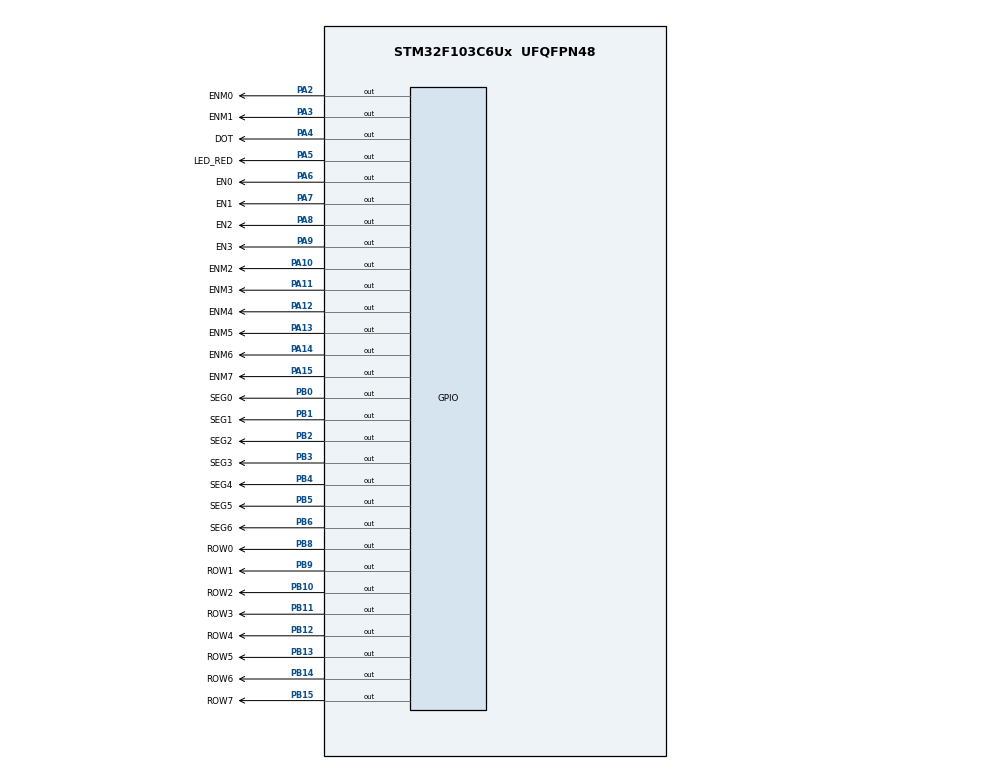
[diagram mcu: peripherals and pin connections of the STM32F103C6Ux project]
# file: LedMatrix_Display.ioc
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Mcu.Family=STM32F1
Mcu.Name=STM32F103C6Ux
Mcu.Package=UFQFPN48
NVIC.PriorityGroup=NVIC_PRIORITYGROUP_4
NVIC.TIM2_IRQn=true\:0\:0\:false\:false\:true\:true\:true
PA10.GPIO_Label=ENM2
PA10.Signal=GPIO_Output
PA11.GPIO_Label=ENM3
PA11.Signal=GPIO_Output
PA12.GPIO_Label=ENM4
PA12.Signal=GPIO_Output
PA13.GPIO_Label=ENM5
PA13.Signal=GPIO_Output
PA14.GPIO_Label=ENM6
PA14.Signal=GPIO_Output
PA15.GPIO_Label=ENM7
PA15.Signal=GPIO_Output
PA2.GPIO_Label=ENM0
PA2.Signal=GPIO_Output
PA3.GPIO_Label=ENM1
PA3.Signal=GPIO_Output
PA4.GPIO_Label=DOT
PA4.Signal=GPIO_Output
PA5.GPIO_Label=LED_RED
PA5.Signal=GPIO_Output
PA6.GPIO_Label=EN0
PA6.Signal=GPIO_Output
PA7.GPIO_Label=EN1
PA7.Signal=GPIO_Output
PA8.GPIO_Label=EN2
PA8.Signal=GPIO_Output
PA9.GPIO_Label=EN3
PA9.Signal=GPIO_Output
PB0.GPIO_Label=SEG0
PB0.Signal=GPIO_Output
PB1.GPIO_Label=SEG1
PB1.Signal=GPIO_Output
PB10.GPIO_Label=ROW2
PB10.Signal=GPIO_Output
PB11.GPIO_Label=ROW3
PB11.Signal=GPIO_Output
PB12.GPIO_Label=ROW4
PB12.Signal=GPIO_Output
PB13.GPIO_Label=ROW5
PB13.Signal=GPIO_Output
PB14.GPIO_Label=ROW6
PB14.Signal=GPIO_Output
PB15.GPIO_Label=ROW7
PB15.Signal=GPIO_Output
PB2.GPIO_Label=SEG2
PB2.Signal=GPIO_Output
PB3.GPIO_Label=SEG3
PB3.Signal=GPIO_Output
PB4.GPIO_Label=SEG4
PB4.Signal=GPIO_Output
PB5.GPIO_Label=SEG5
PB5.Signal=GPIO_Output
PB6.GPIO_Label=SEG6
PB6.Signal=GPIO_Output
PB8.GPIO_Label=ROW0
PB8.Signal=GPIO_Output
PB9.GPIO_Label=ROW1
PB9.Signal=GPIO_Output
ProjectManager.HeapSize=0x200
ProjectManager.StackSize=0x400
ProjectManager.TargetToolchain=STM32CubeIDE
RCC.APB1Freq_Value=8000000
RCC.APB2Freq_Value=8000000
TIM2.Period=9
TIM2.Prescaler=7999
VP_SYS_VS_ND.Mode=No_Debug
VP_TIM2_VS_ClockSourceINT.Mode=Internal
board=custom

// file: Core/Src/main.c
/* USER CODE BEGIN Header */
/**
  ******************************************************************************
  * @file           : main.c
  * @brief          : Main program body
  ******************************************************************************
  * @attention
  *
  * <h2><center>&copy; Copyright (c) 2026 STMicroelectronics.
  * All rights reserved.</center></h2>
  *
  * This software component is licensed by ST under BSD 3-Clause license,
  * the "License"; You may not use this file except in compliance with the
  * License. You may obtain a copy of the License at:
  *                        opensource.org/licenses/BSD-3-Clause
  *
  ******************************************************************************
  */
/* USER CODE END Header */
#include "main.h"

/* USER CODE BEGIN Includes */
#include "software_timer.h"
/* USER CODE END Includes */

/* USER CODE BEGIN PTD */
void display7SEG(int num);
void update7SEG(int index);
void updateClockBuffer(void);
void updateLEDMatrix(int index);
/* USER CODE END PTD */

TIM_HandleTypeDef htim2;

void SystemClock_Config(void);
static void MX_GPIO_Init(void);
static void MX_TIM2_Init(void);

/* USER CODE BEGIN 0 */
int led_state = 0;
const int MAX_LED = 4;
int index_led = 0;

int led_buffer[4] = {0, 0, 0, 0};

int hour = 15, minute = 8, second = 50;

const int MAX_LED_MATRIX = 8;
int index_led_matrix = 0;

uint8_t matrix_buffer[8] = {0x18, 0x3C, 0x66, 0x66, 0x7E, 0x7E, 0x66, 0x66};
//uint8_t matrix_buffer[8] = {
//    0x00, // Cột 0 (trống)
//    0xFC, // Cột 1
//    0x22, // Cột 2
//    0x21, // Cột 3
//    0x21, // Cột 4
//    0x22, // Cột 5
//    0xFC, // Cột 6
//    0x00  // Cột 7 (trống)
//};
/* USER CODE END 0 */

int main(void)
{

  /* MCU Configuration--------------------------------------------------------*/

  /* Reset of all peripherals, Initializes the Flash interface and the Systick. */
  HAL_Init();

  /* Configure the system clock */
  SystemClock_Config();

  /* Initialize all configured peripherals */
  MX_GPIO_Init();
  MX_TIM2_Init();
  /* USER CODE BEGIN 2 */
  HAL_TIM_Base_Start_IT(&htim2);

  HAL_GPIO_WritePin(GPIOA, EN0_Pin|EN1_Pin|EN2_Pin|EN3_Pin|DOT_Pin, GPIO_PIN_SET);

  setTimer1(25);
  setTimer2(100);
  setTimer3(1);
  setTimer4(25);
  /* USER CODE END 2 */

  /* Infinite loop */
  /* USER CODE BEGIN WHILE */

  while (1)
  {
    if (timer1_flag == 1) {
			setTimer1(25);
			update7SEG(index_led);

			index_led++;
			if (index_led >= MAX_LED) {
				index_led = 0;
			}
		}

	if (timer2_flag == 1) {
		setTimer2(100);
		HAL_GPIO_TogglePin(DOT_GPIO_Port, DOT_Pin);

		// logic counting time
		second++;
		if (second >= 60) {
			second = 0;
			minute++;
		  }
		if (minute >= 60) {
			minute = 0;
			hour++;
		}
		if (hour >= 24) {
			hour = 0;
		}

	  updateClockBuffer();
	}

	if (timer3_flag == 1) {
		setTimer3(1);
		updateLEDMatrix(index_led_matrix);
		index_led_matrix++;
		if (index_led_matrix >= MAX_LED_MATRIX) {
			index_led_matrix = 0;
		}
	}

	if (timer4_flag == 1) {
		setTimer4(25); // Nạp lại 250ms

		// Lưu lại giá trị của cột ngoài cùng bên trái
		uint8_t temp = matrix_buffer[0];

		// Dịch toàn bộ dữ liệu các cột sang trái 1 vị trí
		for (int i = 0; i < 7; i++) {
			matrix_buffer[i] = matrix_buffer[i + 1];
		}

		// Đưa cột ngoài cùng bên trái vòng xuống cuối cùng bên phải
		matrix_buffer[7] = temp;
	}

    /* USER CODE END WHILE */

  }
}

void SystemClock_Config(void)
{
  RCC_OscInitTypeDef RCC_OscInitStruct = {0};
  RCC_ClkInitTypeDef RCC_ClkInitStruct = {0};

  /** Initializes the RCC Oscillators according to the specified parameters
  * in the RCC_OscInitTypeDef structure.
  */
  RCC_OscInitStruct.OscillatorType = RCC_OSCILLATORTYPE_HSI;
  RCC_OscInitStruct.HSIState = RCC_HSI_ON;
  RCC_OscInitStruct.HSICalibrationValue = RCC_HSICALIBRATION_DEFAULT;
  RCC_OscInitStruct.PLL.PLLState = RCC_PLL_NONE;
  if (HAL_RCC_OscConfig(&RCC_OscInitStruct) != HAL_OK)
  {
    Error_Handler();
  }
  /** Initializes the CPU, AHB and APB buses clocks
  */
  RCC_ClkInitStruct.ClockType = RCC_CLOCKTYPE_HCLK|RCC_CLOCKTYPE_SYSCLK
                              |RCC_CLOCKTYPE_PCLK1|RCC_CLOCKTYPE_PCLK2;
  RCC_ClkInitStruct.SYSCLKSource = RCC_SYSCLKSOURCE_HSI;
  RCC_ClkInitStruct.AHBCLKDivider = RCC_SYSCLK_DIV1;
  RCC_ClkInitStruct.APB1CLKDivider = RCC_HCLK_DIV1;
  RCC_ClkInitStruct.APB2CLKDivider = RCC_HCLK_DIV1;

  if (HAL_RCC_ClockConfig(&RCC_ClkInitStruct, FLASH_LATENCY_0) != HAL_OK)
  {
    Error_Handler();
  }
}

static void MX_TIM2_Init(void)
{

  TIM_ClockConfigTypeDef sClockSourceConfig = {0};
  TIM_MasterConfigTypeDef sMasterConfig = {0};

  htim2.Instance = TIM2;
  htim2.Init.Prescaler = 7999;
  htim2.Init.CounterMode = TIM_COUNTERMODE_UP;
  htim2.Init.Period = 9;
  htim2.Init.ClockDivision = TIM_CLOCKDIVISION_DIV1;
  htim2.Init.AutoReloadPreload = TIM_AUTORELOAD_PRELOAD_DISABLE;
  if (HAL_TIM_Base_Init(&htim2) != HAL_OK)
  {
    Error_Handler();
  }
  sClockSourceConfig.ClockSource = TIM_CLOCKSOURCE_INTERNAL;
  if (HAL_TIM_ConfigClockSource(&htim2, &sClockSourceConfig) != HAL_OK)
  {
    Error_Handler();
  }
  sMasterConfig.MasterOutputTrigger = TIM_TRGO_RESET;
  sMasterConfig.MasterSlaveMode = TIM_MASTERSLAVEMODE_DISABLE;
  if (HAL_TIMEx_MasterConfigSynchronization(&htim2, &sMasterConfig) != HAL_OK)
  {
    Error_Handler();
  }

}

static void MX_GPIO_Init(void)
{
  GPIO_InitTypeDef GPIO_InitStruct = {0};

  /* GPIO Ports Clock Enable */
  __HAL_RCC_GPIOA_CLK_ENABLE();
  __HAL_RCC_GPIOB_CLK_ENABLE();

  /*Configure GPIO pin Output Level */
  HAL_GPIO_WritePin(GPIOA, ENM0_Pin|ENM1_Pin|DOT_Pin|LED_RED_Pin
                          |EN0_Pin|EN1_Pin|EN2_Pin|EN3_Pin
                          |ENM2_Pin|ENM3_Pin|ENM4_Pin|ENM5_Pin
                          |ENM6_Pin|ENM7_Pin, GPIO_PIN_RESET);

  /*Configure GPIO pin Output Level */
  HAL_GPIO_WritePin(GPIOB, SEG0_Pin|SEG1_Pin|SEG2_Pin|ROW2_Pin
                          |ROW3_Pin|ROW4_Pin|ROW5_Pin|ROW6_Pin
                          |ROW7_Pin|SEG3_Pin|SEG4_Pin|SEG5_Pin
                          |SEG6_Pin|ROW0_Pin|ROW1_Pin, GPIO_PIN_RESET);

  /*Configure GPIO pins : ENM0_Pin ENM1_Pin DOT_Pin LED_RED_Pin
                           EN0_Pin EN1_Pin EN2_Pin EN3_Pin
                           ENM2_Pin ENM3_Pin ENM4_Pin ENM5_Pin
                           ENM6_Pin ENM7_Pin */
  GPIO_InitStruct.Pin = ENM0_Pin|ENM1_Pin|DOT_Pin|LED_RED_Pin
                          |EN0_Pin|EN1_Pin|EN2_Pin|EN3_Pin
                          |ENM2_Pin|ENM3_Pin|ENM4_Pin|ENM5_Pin
                          |ENM6_Pin|ENM7_Pin;
  GPIO_InitStruct.Mode = GPIO_MODE_OUTPUT_PP;
  GPIO_InitStruct.Pull = GPIO_NOPULL;
  GPIO_InitStruct.Speed = GPIO_SPEED_FREQ_LOW;
  HAL_GPIO_Init(GPIOA, &GPIO_InitStruct);

  /*Configure GPIO pins : SEG0_Pin SEG1_Pin SEG2_Pin ROW2_Pin
                           ROW3_Pin ROW4_Pin ROW5_Pin ROW6_Pin
                           ROW7_Pin SEG3_Pin SEG4_Pin SEG5_Pin
                           SEG6_Pin ROW0_Pin ROW1_Pin */
  GPIO_InitStruct.Pin = SEG0_Pin|SEG1_Pin|SEG2_Pin|ROW2_Pin
                          |ROW3_Pin|ROW4_Pin|ROW5_Pin|ROW6_Pin
                          |ROW7_Pin|SEG3_Pin|SEG4_Pin|SEG5_Pin
                          |SEG6_Pin|ROW0_Pin|ROW1_Pin;
  GPIO_InitStruct.Mode = GPIO_MODE_OUTPUT_PP;
  GPIO_InitStruct.Pull = GPIO_NOPULL;
  GPIO_InitStruct.Speed = GPIO_SPEED_FREQ_LOW;
  HAL_GPIO_Init(GPIOB, &GPIO_InitStruct);

}

/* USER CODE BEGIN 4 */
const uint8_t segment_code[10] = {
	0xC0, // 0
	0xF9, // 1
	0xA4, // 2
	0xB0, // 3
	0x99, // 4
	0x92, // 5
	0x82, // 6
	0xF8, // 7
	0x80, // 8
	0x90  // 9
};

void display7SEG(int num) {
	if (num < 0 || num > 9) return;

	uint8_t code = segment_code[num];

	HAL_GPIO_WritePin(SEG0_GPIO_Port, SEG0_Pin, (code & 0x01) ? GPIO_PIN_SET : GPIO_PIN_RESET);
	HAL_GPIO_WritePin(SEG1_GPIO_Port, SEG1_Pin, ((code >> 1) & 0x01) ? GPIO_PIN_SET : GPIO_PIN_RESET);
	HAL_GPIO_WritePin(SEG2_GPIO_Port, SEG2_Pin, ((code >> 2) & 0x01) ? GPIO_PIN_SET : GPIO_PIN_RESET);
	HAL_GPIO_WritePin(SEG3_GPIO_Port, SEG3_Pin, ((code >> 3) & 0x01) ? GPIO_PIN_SET : GPIO_PIN_RESET);
	HAL_GPIO_WritePin(SEG4_GPIO_Port, SEG4_Pin, ((code >> 4) & 0x01) ? GPIO_PIN_SET : GPIO_PIN_RESET);
	HAL_GPIO_WritePin(SEG5_GPIO_Port, SEG5_Pin, ((code >> 5) & 0x01) ? GPIO_PIN_SET : GPIO_PIN_RESET);
	HAL_GPIO_WritePin(SEG6_GPIO_Port, SEG6_Pin, ((code >> 6) & 0x01) ? GPIO_PIN_SET : GPIO_PIN_RESET);
}

void update7SEG(int index) {
    HAL_GPIO_WritePin(GPIOA, EN0_Pin|EN1_Pin|EN2_Pin|EN3_Pin, GPIO_PIN_SET);
    switch (index) {
        case 0:
            display7SEG(led_buffer[0]);
            HAL_GPIO_WritePin(EN0_GPIO_Port, EN0_Pin, GPIO_PIN_RESET);
            break;
        case 1:
            display7SEG(led_buffer[1]);
            HAL_GPIO_WritePin(EN1_GPIO_Port, EN1_Pin, GPIO_PIN_RESET);
            break;
        case 2:
            display7SEG(led_buffer[2]);
            HAL_GPIO_WritePin(EN2_GPIO_Port, EN2_Pin, GPIO_PIN_RESET);
            break;
        case 3:
            display7SEG(led_buffer[3]);
            HAL_GPIO_WritePin(EN3_GPIO_Port, EN3_Pin, GPIO_PIN_RESET);
            break;
        default:
            break;
    }
}

void updateClockBuffer() {
	// hours
	led_buffer[0] = hour / 10;
	led_buffer[1] = hour % 10;

	// minutes
	led_buffer[2] = minute / 10;
	led_buffer[3] = minute % 10;
}

void updateLEDMatrix(int index) {
	HAL_GPIO_WritePin(GPIOA, ENM0_Pin|ENM1_Pin|ENM2_Pin|
							 ENM3_Pin| ENM4_Pin|ENM5_Pin|
							 ENM6_Pin|ENM7_Pin, GPIO_PIN_RESET);

	uint8_t row_data = matrix_buffer[index];

	GPIOB->ODR = (GPIOB->ODR & 0x00FF) | ((uint32_t)row_data << 8);

	switch (index) {
		case 0:
			HAL_GPIO_WritePin(ENM0_GPIO_Port, ENM0_Pin, GPIO_PIN_SET);
			break;
		case 1:
			HAL_GPIO_WritePin(ENM1_GPIO_Port, ENM1_Pin, GPIO_PIN_SET);
			break;
		case 2:
			HAL_GPIO_WritePin(ENM2_GPIO_Port, ENM2_Pin, GPIO_PIN_SET);
			break;
		case 3:
			HAL_GPIO_WritePin(ENM3_GPIO_Port, ENM3_Pin, GPIO_PIN_SET);
			break;
		case 4:
			HAL_GPIO_WritePin(ENM4_GPIO_Port, ENM4_Pin, GPIO_PIN_SET);
			break;
		case 5:
			HAL_GPIO_WritePin(ENM5_GPIO_Port, ENM5_Pin, GPIO_PIN_SET);
			break;
		case 6:
			HAL_GPIO_WritePin(ENM6_GPIO_Port, ENM6_Pin, GPIO_PIN_SET);
			break;
		case 7:
			HAL_GPIO_WritePin(ENM7_GPIO_Port, ENM7_Pin, GPIO_PIN_SET);
			break;
		default:
			break;
	}
}

void HAL_TIM_PeriodElapsedCallback(TIM_HandleTypeDef *htim) {
	if (htim->Instance == TIM2) {
		timerRun();
	}
}
/* USER CODE END 4 */

void Error_Handler(void)
{
  __disable_irq();
  while (1)
  {
  }
}

/************************ (C) COPYRIGHT STMicroelectronics *****END OF FILE****/
